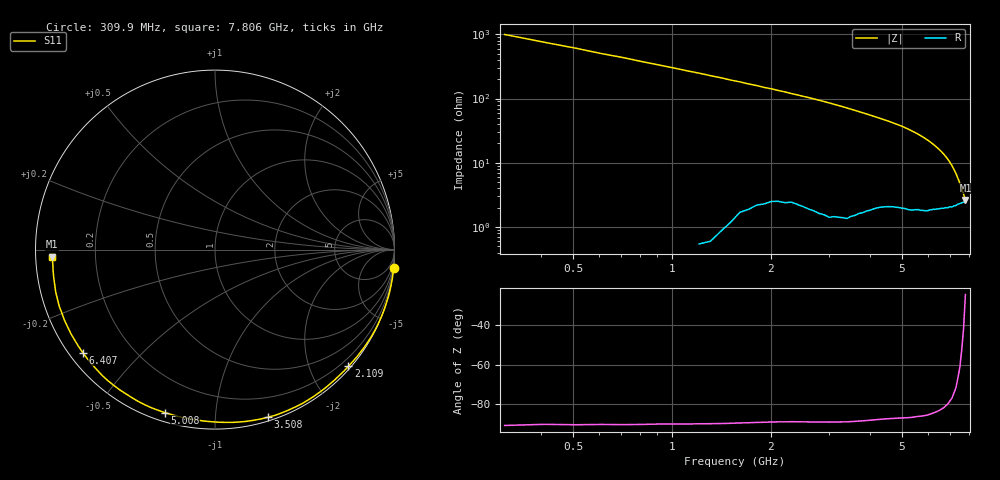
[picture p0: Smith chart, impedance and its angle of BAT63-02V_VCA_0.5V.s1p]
! Infineon Technologies  Discrete & RF Semiconductors
! BAT63-02V
! VCA = 0.5 V
! One-Port S-Parameters
# Hz  S  MA  R  50
!f  S11
!Hz  Mag  Ang
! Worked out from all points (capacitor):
!   76 points, 309.9 MHz to 7.806 GHz, reference 50 ohm
!   read as one part to ground: C = 517 fF near 309.9 MHz
!   lowest |Z| = 2.64 ohm at 7.806 GHz (marker M1)
!   S11 on the Smith chart (normalised r, x): 309.9 MHz: -0, -20; 2.109 GHz: 0.05, -2.66; 3.508 GHz: 0.03, -1.36; 5.008 GHz: 0.04, -0.74; 6.407 GHz: 0.04, -0.34; 7.806 GHz: 0.05, -0.02
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3.0985e8  1.001 -5.8
8.096e8  1.001 -15.1
1.10945e9  1 -20.9
1.30935e9  0.9989 -24.8
1.6092e9  0.9952 -30.7
1.90905e9  0.9908 -37.1
2.009e9  0.989 -38.9
2.10895e9  0.9877 -41.1
2.2089e9  0.9872 -43.1
2.6087e9  0.9857 -51.6
2.90855e9  0.9854 -58.3
3.2084e9  0.9836 -65.3
3.50825e9  0.9796 -72.5
3.8081e9  0.9728 -79.7
4.10795e9  0.9644 -86.7
4.50775e9  0.9553 -95.7
5.0075e9  0.9505 -107.1
5.2074e9  0.9496 -111.9
5.4073e9  0.9478 -116.9
5.8071e9  0.9437 -126.7
6.007e9  0.9416 -131.8
6.4068e9  0.9338 -142.1
6.70665e9  0.9296 -149.7
6.90655e9  0.9265 -154.8
7.10645e9  0.9234 -160.0
7.30635e9  0.9184 -165.2
7.6062e9  0.9093 -172.8
7.8061e9  0.9083 -177.5
